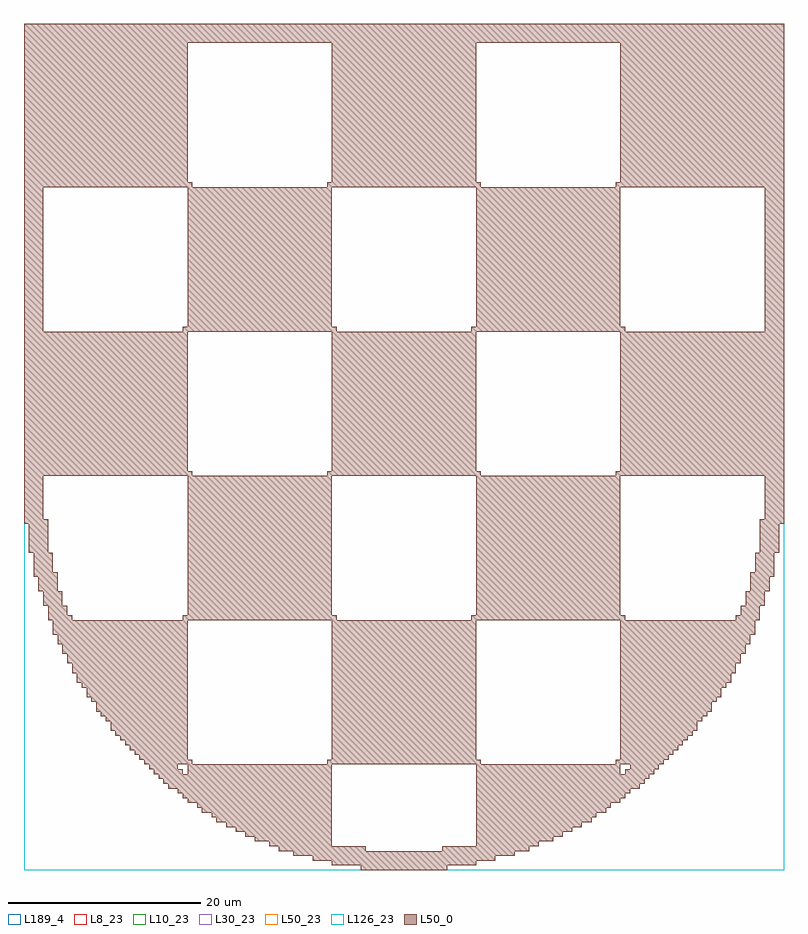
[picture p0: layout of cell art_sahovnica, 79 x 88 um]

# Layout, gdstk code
import gdstk
lib = gdstk.Library(unit=1e-6, precision=1e-09)
def R(c, l, rs):  # rectangles x0, y0, x1, y1
    for r in rs: c.add(gdstk.rectangle(r[:2], r[2:], *l))
def P(c, l, *ps):  # polygons
    for p in ps: c.add(gdstk.Polygon(p, *l))
L8_23 = (8, 23)
L10_23 = (10, 23)
L30_23 = (30, 23)
L50_0 = (50, 0)
L50_23 = (50, 23)
L126_23 = (126, 23)
L189_4 = (189, 4)

art_sahovnica = lib.new_cell('art_sahovnica')
R(art_sahovnica, L8_23, [(0,0,79,88)])
R(art_sahovnica, L10_23, [(0,0,79,88)])
R(art_sahovnica, L30_23, [(0,0,79,88)])
P(art_sahovnica, L50_0, [(35,0),(35,0.5),(32,0.5),(32,1),(30,1),(30,1.5),(28,1.5),(28,2),(26.5,2),(26.5,2.5),(25.5,2.5),(25.5,3),(24,3),(24,3.5),(23,3.5),(23,4),(22,4),(22,4.5),(21,4.5),(21,5),(20,5),(20,5.5),(19.5,5.5),(19.5,6),(18.5,6),(18.5,6.5),(18,6.5),(18,7),(17,7),(17,7.5),(16.5,7.5),(16.5,8),(16,8),(16,8.5),(15,8.5),(15,9),(14.5,9),(14.5,9.5),(14,9.5),(14,10),(13.5,10),(13.5,10.5),(13,10.5),(13,11),(16,11),(16,10.5),(16.5,10.5),(16.5,10),(17,10),(17,11),(12.5,11),(12.5,11.5),(12,11.5),(12,12),(11.5,12),(11.5,12.5),(11,12.5),(11,13),(10.5,13),(10.5,13.5),(10,13.5),(10,14),(9.5,14),(9.5,14.5),(9,14.5),(9,15.5),(8.5,15.5),(8.5,16),(8,16),(8,16.5),(7.5,16.5),(7.5,17.5),(7,17.5),(7,18),(6.5,18),(6.5,19),(6,19),(6,19.5),(5.5,19.5),(5.5,20.5),(5,20.5),(5,21.5),(4.5,21.5),(4.5,22.5),(4,22.5),(4,23.5),(3.5,23.5),(3.5,24.5),(3,24.5),(3,26),(2.5,26),(2.5,27.5),(2,27.5),(2,29),(1.5,29),(1.5,30.5),(1,30.5),(1,33),(0.5,33),(0.5,36),(0,36),(0,41),(2,41),(2,36.5),(2.5,36.5),(2.5,33),(3,33),(3,31),(3.5,31),(3.5,29),(4,29),(4,27.5),(4.5,27.5),(4.5,26.5),(5,26.5),(5,26),(17,26),(17,11.5),(17.5,11.5),(17.5,11),(32,11),(32,2.5),(35.5,2.5),(35.5,2),(43.5,2),(43.5,2.5),(47,2.5),(47,11),(31.5,11),(31.5,11.5),(32,11.5),(32,26),(16.5,26),(16.5,26.5),(17,26.5),(17,41),(0,41),(0,71),(2,71),(2,56),(17,56),(17,41.5),(17.5,41.5),(17.5,41),(32,41),(32,26.5),(32.5,26.5),(32.5,26),(47,26),(47,11.5),(47.5,11.5),(47.5,11),(62,11),(62,10),(62.5,10),(62.5,10.5),(63,10.5),(63,11),(61.5,11),(61.5,11.5),(62,11.5),(62,26),(46.5,26),(46.5,26.5),(47,26.5),(47,41),(31.5,41),(31.5,41.5),(32,41.5),(32,56),(16.5,56),(16.5,56.5),(17,56.5),(17,71),(0,71),(0,86),(17,86),(17,71.5),(17.5,71.5),(17.5,71),(32,71),(32,56.5),(32.5,56.5),(32.5,56),(47,56),(47,41.5),(47.5,41.5),(47.5,41),(62,41),(62,26.5),(62.5,26.5),(62.5,26),(74,26),(74,26.5),(74.5,26.5),(74.5,27.5),(75,27.5),(75,29),(75.5,29),(75.5,31),(76,31),(76,33),(76.5,33),(76.5,36.5),(77,36.5),(77,41),(61.5,41),(61.5,41.5),(62,41.5),(62,56),(46.5,56),(46.5,56.5),(47,56.5),(47,71),(31.5,71),(31.5,71.5),(32,71.5),(32,86),(47,86),(47,71.5),(47.5,71.5),(47.5,71),(62,71),(62,56.5),(62.5,56.5),(62.5,56),(77,56),(77,71),(61.5,71),(61.5,71.5),(62,71.5),(62,86),(0,86),(0,88),(79,88),(79,36),(78.5,36),(78.5,33),(78,33),(78,30.5),(77.5,30.5),(77.5,29),(77,29),(77,27.5),(76.5,27.5),(76.5,26),(76,26),(76,24.5),(75.5,24.5),(75.5,23.5),(75,23.5),(75,22.5),(74.5,22.5),(74.5,21.5),(74,21.5),(74,20.5),(73.5,20.5),(73.5,19.5),(73,19.5),(73,19),(72.5,19),(72.5,18),(72,18),(72,17.5),(71.5,17.5),(71.5,16.5),(71,16.5),(71,16),(70.5,16),(70.5,15.5),(70,15.5),(70,14.5),(69.5,14.5),(69.5,14),(69,14),(69,13.5),(68.5,13.5),(68.5,13),(68,13),(68,12.5),(67.5,12.5),(67.5,12),(67,12),(67,11.5),(66.5,11.5),(66.5,11),(66,11),(66,10.5),(65.5,10.5),(65.5,10),(65,10),(65,9.5),(64.5,9.5),(64.5,9),(64,9),(64,8.5),(63,8.5),(63,8),(62.5,8),(62.5,7.5),(62,7.5),(62,7),(61,7),(61,6.5),(60.5,6.5),(60.5,6),(59.5,6),(59.5,5.5),(59,5.5),(59,5),(58,5),(58,4.5),(57,4.5),(57,4),(56,4),(56,3.5),(55,3.5),(55,3),(53.5,3),(53.5,2.5),(52.5,2.5),(52.5,2),(51,2),(51,1.5),(49,1.5),(49,1),(47,1),(47,0.5),(44,0.5),(44,0)])
R(art_sahovnica, L50_23, [(0,0,79,88)])
R(art_sahovnica, L126_23, [(0,0,79,88)])
R(art_sahovnica, L189_4, [(0,0,79,88)])

lib.write_gds('art_sahovnica.gds')
